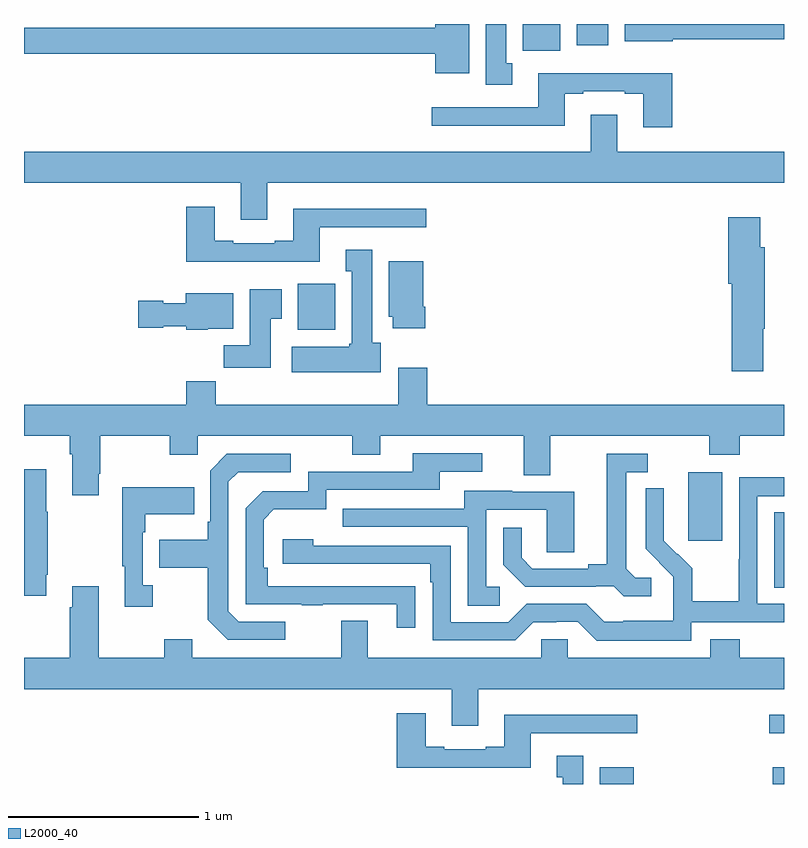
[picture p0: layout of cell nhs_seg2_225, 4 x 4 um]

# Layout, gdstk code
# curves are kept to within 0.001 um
import gdstk
lib = gdstk.Library(unit=1e-6, precision=1e-09)
def R(c, l, rs):  # rectangles x0, y0, x1, y1
    for r in rs: c.add(gdstk.rectangle(r[:2], r[2:], *l))
def P(c, l, *ps):  # polygons
    for p in ps: c.add(gdstk.Polygon(p, *l))
L2000_40 = (2000, 40)

nhs_seg2_225 = lib.new_cell('nhs_seg2_225')
R(nhs_seg2_225, L2000_40, [(124.031,649.8,124.21,649.888), (124.94,649.8,125,649.888), (124.923,650.067,125,650.164), (124.949,650.833,125,651.23), (124.496,651.081,124.675,651.442), (122.441,652.19,122.638,652.432), (123.626,653.66,123.823,653.8), (123.908,653.688,124.075,653.8)])
P(nhs_seg2_225, L2000_40, [(123.571,653.594),(123.538,653.594),(123.538,653.8),(123.431,653.8),(123.431,653.481),(123.571,653.481)],
  [(123.343,653.8),(123.164,653.8),(123.164,653.78),(121,653.78),(121,653.644),(123.164,653.644),(123.164,653.54),(123.343,653.54)],
  [(124.414,653.719),(125,653.719),(125,653.8),(124.163,653.8),(124.163,653.708),(124.414,653.708)],
  [(124.412,653.542),(123.707,653.542),(123.707,653.361),(123.147,653.361),(123.147,653.264),(123.847,653.264),(123.847,653.433),(123.943,653.433),(123.943,653.445),(124.163,653.445),(124.163,653.433),(124.259,653.433),(124.259,653.256),(124.412,653.256)],
  [(122.281,652.964),(125,652.964),(125,653.128),(124.123,653.128),(124.123,653.323),(123.983,653.323),(123.983,653.128),(121,653.128),(121,652.964),(122.141,652.964),(122.141,652.77),(122.281,652.77)],
  [(122.557,652.731),(123.118,652.731),(123.118,652.828),(122.417,652.828),(122.417,652.66),(122.321,652.66),(122.321,652.647),(122.101,652.647),(122.101,652.66),(122.005,652.66),(122.005,652.837),(121.853,652.837),(121.853,652.55),(122.557,652.55)],
  [(124.891,652.195),(124.899,652.195),(124.899,652.626),(124.876,652.626),(124.876,652.783),(124.706,652.783),(124.706,652.434),(124.724,652.434),(124.724,651.972),(124.891,651.972)],
  [(122.878,652.122),(122.833,652.122),(122.833,652.612),(122.693,652.612),(122.693,652.499),(122.726,652.499),(122.726,652.116),(122.713,652.116),(122.713,652.102),(122.409,652.102),(122.409,651.968),(122.878,651.968)],
  [(123.113,652.312),(123.1,652.312),(123.1,652.552),(122.921,652.552),(122.921,652.26),(122.942,652.26),(122.942,652.2),(123.113,652.2)],
  [(122.299,652.249),(122.356,652.249),(122.356,652.405),(122.189,652.405),(122.189,652.108),(122.05,652.108),(122.05,651.99),(122.299,651.99)],
  [(121.968,652.196),(122.101,652.196),(122.101,652.384),(121.85,652.384),(121.85,652.33),(121.734,652.33),(121.734,652.343),(121.602,652.343),(121.602,652.201),(121.734,652.201),(121.734,652.208),(121.854,652.208),(121.854,652.19),(121.968,652.19)],
  [(121.393,651.433),(121.401,651.433),(121.401,651.632),(121.768,651.632),(121.768,651.533),(121.914,651.533),(121.914,651.632),(122.728,651.632),(122.728,651.533),(122.875,651.533),(122.875,651.632),(123.629,651.632),(123.629,651.424),(123.769,651.424),(123.769,651.632),(124.606,651.632),(124.606,651.533),(124.766,651.533),(124.766,651.632),(125,651.632),(125,651.796),(123.122,651.796),(123.122,651.991),(122.969,651.991),(122.969,651.796),(122.009,651.796),(122.009,651.92),(121.853,651.92),(121.853,651.796),(121,651.796),(121,651.632),(121.241,651.632),(121.241,651.536),(121.253,651.536),(121.253,651.321),(121.393,651.321)],
  [(123.059,650.84),(122.282,650.841),(122.282,650.938),(122.262,650.938),(122.262,651.192),(122.315,651.245),(122.592,651.245),(122.592,651.348),(123.187,651.348),(123.187,651.444),(123.412,651.444),(123.412,651.54),(123.047,651.54),(123.047,651.444),(122.496,651.444),(122.496,651.342),(122.256,651.342),(122.166,651.252),(122.166,650.745),(122.461,650.745),(122.461,650.74),(122.573,650.74),(122.573,650.745),(122.963,650.745),(122.963,650.622),(123.059,650.622)],
  [(124.3,650.886),(124.218,650.886),(124.171,650.933),(124.171,651.441),(124.282,651.441),(124.282,651.537),(124.067,651.537),(124.067,650.957),(123.971,650.957),(123.971,650.934),(123.676,650.934),(123.619,650.991),(123.619,651.148),(123.522,651.148),(123.522,650.954),(123.638,650.838),(124.01,650.838),(124.01,650.841),(124.104,650.841),(124.156,650.789),(124.3,650.789)],
  [(122.374,650.655),(122.13,650.655),(122.076,650.709),(122.076,651.39),(122.127,651.441),(122.404,651.441),(122.404,651.537),(122.067,651.537),(121.98,651.45),(121.98,651.181),(121.968,651.181),(121.968,651.085),(121.711,651.085),(121.711,650.938),(121.968,650.938),(121.968,650.665),(122.073,650.559),(122.374,650.559)],
  [(121.117,650.902),(121.125,650.902),(121.125,651.233),(121.117,651.233),(121.117,651.457),(121,651.457),(121,650.79),(121.117,650.79)],
  [(124.512,650.652),(125,650.652),(125,650.748),(124.86,650.748),(124.86,651.315),(125,651.315),(125,651.414),(124.764,651.414),(124.764,650.984),(124.762,650.984),(124.762,650.761),(124.517,650.761),(124.517,650.935),(124.44,651.012),(124.437,651.009),(124.367,651.08),(124.368,651.356),(124.272,651.356),(124.272,651.038),(124.418,650.89),(124.418,650.793),(124.416,650.793),(124.416,650.659),(124.153,650.659),(124.153,650.655),(124.053,650.655),(123.96,650.748),(123.645,650.748),(123.549,650.652),(123.246,650.652),(123.246,651.054),(122.522,651.054),(122.522,651.088),(122.361,651.088),(122.361,650.958),(123.137,650.958),(123.137,650.861),(123.15,650.861),(123.15,650.556),(123.585,650.556),(123.681,650.652),(123.8,650.652),(123.8,650.655),(123.915,650.655),(124.015,650.555),(124.512,650.555)],
  [(121.678,650.846),(121.626,650.846),(121.626,651.125),(121.639,651.125),(121.639,651.221),(121.895,651.221),(121.895,651.361),(121.518,651.361),(121.518,650.945),(121.529,650.945),(121.529,650.733),(121.678,650.733)],
  [(123.505,650.838),(123.432,650.838),(123.432,651.243),(123.75,651.243),(123.75,651.019),(123.895,651.019),(123.895,651.339),(123.571,651.339),(123.571,651.343),(123.317,651.343),(123.317,651.249),(122.677,651.249),(122.677,651.153),(123.336,651.153),(123.336,650.737),(123.505,650.737)],
  [(123.391,650.3),(125,650.3),(125,650.464),(124.766,650.464),(124.766,650.563),(124.613,650.563),(124.613,650.464),(123.861,650.464),(123.861,650.562),(123.723,650.562),(123.723,650.464),(122.809,650.464),(122.809,650.659),(122.669,650.659),(122.669,650.464),(121.885,650.464),(121.885,650.563),(121.738,650.563),(121.738,650.464),(121.393,650.464),(121.393,650.842),(121.253,650.842),(121.253,650.729),(121.241,650.729),(121.241,650.464),(121,650.464),(121,650.3),(123.251,650.3),(123.251,650.106),(123.391,650.106)],
  [(123.667,650.067),(124.228,650.067),(124.228,650.164),(123.527,650.164),(123.527,649.996),(123.431,649.996),(123.431,649.983),(123.211,649.983),(123.211,649.996),(123.115,649.996),(123.115,650.173),(122.963,650.173),(122.963,649.886),(123.667,649.886)],
  [(123.943,649.948),(123.803,649.948),(123.803,649.835),(123.836,649.835),(123.836,649.8),(123.943,649.8)])

lib.write_gds('nhs_seg2_225.gds')
